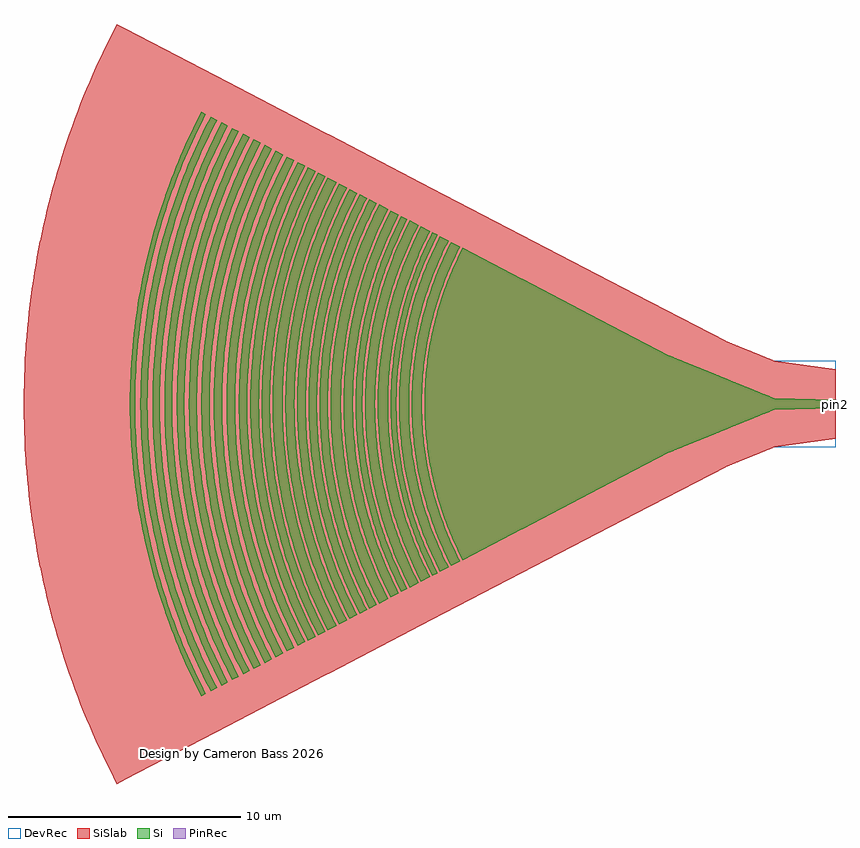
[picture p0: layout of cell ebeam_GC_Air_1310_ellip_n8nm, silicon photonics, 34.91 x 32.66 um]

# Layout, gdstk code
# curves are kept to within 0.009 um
import gdstk
lib = gdstk.Library(unit=1e-6, precision=1e-09)
def P(c, l, *ps):  # polygons
    for p in ps: c.add(gdstk.Polygon(p, *l))
Si = (1, 0)
PinRec = (1, 10)
SiSlab = (2, 0)
DevRec = (68, 0)

ebeam_gc_air_1310_ellip_ = lib.new_cell('ebeam_GC_Air_1310_ellip_n8nm')
P(ebeam_gc_air_1310_ellip_, Si, [(-16.045,-6.705),(-16.403,-5.966),(-16.777,-5.05),(-17.005,-4.382),(-17.27,-3.429),(-17.446,-2.6),(-17.573,-1.762),(-17.651,-0.917),(-17.679,-0.071),(-17.651,0.917),(-17.573,1.762),(-17.446,2.601),(-17.27,3.429),(-17.005,4.382),(-16.777,5.05),(-16.403,5.966),(-16.045,6.705),(-7.155,2.076),(-3.188,0.457),(-2.88,0.343),(-2.695,0.255),(-2.65,0.242),(0,0.175),(0,-0.175),(-2.65,-0.242),(-2.695,-0.254),(-2.849,-0.33),(-3.203,-0.463),(-7.126,-2.063)],
  [(-16.537,-6.96),(-16.906,-6.196),(-17.243,-5.382),(-17.531,-4.551),(-17.697,-3.988),(-17.806,-3.561),(-17.989,-2.7),(-18.12,-1.83),(-18.21,-0.807),(-18.231,0.074),(-18.201,0.954),(-18.102,1.975),(-17.962,2.844),(-17.771,3.704),(-17.531,4.551),(-17.243,5.382),(-16.906,6.196),(-16.536,6.961),(-16.148,6.759),(-16.508,6.013),(-16.886,5.091),(-17.158,4.281),(-17.383,3.457),(-17.56,2.621),(-17.688,1.776),(-17.775,0.783),(-17.795,0.071),(-17.775,-0.783),(-17.688,-1.776),(-17.56,-2.62),(-17.383,-3.457),(-17.158,-4.281),(-16.886,-5.091),(-16.508,-6.013),(-16.148,-6.759)],
  [(-17.018,-7.211),(-17.4,-6.42),(-17.749,-5.577),(-18.047,-4.716),(-18.296,-3.838),(-18.493,-2.947),(-18.638,-2.047),(-18.731,-1.139),(-18.758,-0.684),(-18.772,-0.076),(-18.75,0.836),(-18.675,1.745),(-18.618,2.198),(-18.521,2.798),(-18.332,3.69),(-18.178,4.279),(-18.047,4.716),(-17.749,5.577),(-17.4,6.42),(-17.018,7.211),(-16.639,7.015),(-17.071,6.108),(-17.454,5.147),(-17.686,4.444),(-17.92,3.589),(-18.103,2.721),(-18.236,1.844),(-18.317,0.961),(-18.347,0.074),(-18.326,-0.812),(-18.236,-1.844),(-18.103,-2.721),(-17.92,-3.589),(-17.686,-4.444),(-17.403,-5.286),(-17.071,-6.108),(-16.639,-7.015)],
  [(-17.338,-7.378),(-17.729,-6.568),(-18.086,-5.706),(-18.391,-4.825),(-18.646,-3.927),(-18.848,-3.015),(-18.929,-2.556),(-19.016,-1.94),(-19.102,-1.01),(-19.133,-0.078),(-19.111,0.856),(-19.016,1.94),(-18.876,2.863),(-18.683,3.776),(-18.437,4.676),(-18.141,5.56),(-17.973,5.996),(-17.729,6.569),(-17.338,7.378),(-17.121,7.265),(-17.567,6.327),(-17.963,5.332),(-18.112,4.896),(-18.29,4.31),(-18.409,3.867),(-18.547,3.27),(-18.711,2.365),(-18.807,1.606),(-18.866,0.842),(-18.888,0.077),(-18.866,-0.842),(-18.807,-1.606),(-18.711,-2.365),(-18.547,-3.27),(-18.409,-3.866),(-18.29,-4.31),(-18.112,-4.896),(-17.963,-5.331),(-17.567,-6.327),(-17.121,-7.265)],
  [(-17.834,-7.636),(-18.303,-6.651),(-18.664,-5.755),(-18.971,-4.84),(-19.225,-3.908),(-19.425,-2.963),(-19.569,-2.008),(-19.658,-1.045),(-19.691,-0.08),(-19.667,0.886),(-19.588,1.848),(-19.453,2.805),(-19.332,3.437),(-19.225,3.908),(-18.971,4.84),(-18.664,5.755),(-18.49,6.206),(-18.238,6.799),(-17.834,7.636),(-17.441,7.432),(-17.898,6.473),(-18.193,5.748),(-18.503,4.859),(-18.759,3.956),(-18.991,2.883),(-19.131,1.954),(-19.195,1.331),(-19.227,0.861),(-19.249,0.078),(-19.227,-0.861),(-19.195,-1.331),(-19.131,-1.954),(-18.991,-2.883),(-18.796,-3.803),(-18.549,-4.71),(-18.249,-5.601),(-17.898,-6.473),(-17.441,-7.432)],
  [(-18.314,-7.886),(-18.732,-7.02),(-18.992,-6.408),(-19.171,-5.943),(-19.489,-4.998),(-19.751,-4.035),(-19.957,-3.06),(-20.107,-2.073),(-20.198,-1.08),(-20.232,-0.083),(-20.208,0.915),(-20.126,1.908),(-19.986,2.896),(-19.79,3.874),(-19.627,4.519),(-19.489,4.998),(-19.283,5.63),(-19.113,6.099),(-18.732,7.021),(-18.314,7.886),(-17.938,7.691),(-18.41,6.698),(-18.83,5.644),(-19.131,4.718),(-19.34,3.936),(-19.541,2.983),(-19.686,2.022),(-19.776,1.053),(-19.809,0.081),(-19.785,-0.891),(-19.705,-1.861),(-19.569,-2.824),(-19.48,-3.303),(-19.34,-3.935),(-19.084,-4.873),(-18.774,-5.796),(-18.345,-6.846),(-17.938,-7.691)],
  [(-18.676,-8.074),(-19.104,-7.187),(-19.495,-6.243),(-19.829,-5.279),(-20.021,-4.626),(-20.148,-4.131),(-20.359,-3.133),(-20.512,-2.122),(-20.606,-1.105),(-20.64,-0.085),(-20.616,0.936),(-20.532,1.954),(-20.389,2.965),(-20.261,3.633),(-20.148,4.131),(-20.021,4.626),(-19.829,5.279),(-19.495,6.243),(-19.104,7.187),(-18.676,8.074),(-18.417,7.941),(-18.698,7.372),(-18.905,6.915),(-19.161,6.297),(-19.338,5.827),(-19.501,5.351),(-19.695,4.711),(-19.825,4.226),(-19.976,3.574),(-20.155,2.585),(-20.26,1.755),(-20.325,0.92),(-20.349,0.084),(-20.325,-0.92),(-20.26,-1.755),(-20.155,-2.585),(-20.01,-3.41),(-19.904,-3.9),(-19.74,-4.549),(-19.552,-5.191),(-19.394,-5.669),(-18.972,-6.761),(-18.698,-7.372),(-18.417,-7.94)],
  [(-19.134,-8.313),(-19.575,-7.4),(-19.85,-6.754),(-20.039,-6.264),(-20.373,-5.268),(-20.65,-4.253),(-20.867,-3.225),(-21.025,-2.185),(-21.121,-1.138),(-21.157,-0.088),(-21.147,0.614),(-21.121,1.138),(-21.025,2.185),(-20.867,3.225),(-20.65,4.253),(-20.373,5.268),(-20.039,6.264),(-19.646,7.24),(-19.429,7.718),(-19.134,8.313),(-18.78,8.129),(-19.211,7.235),(-19.479,6.604),(-19.663,6.125),(-19.992,5.15),(-20.263,4.159),(-20.475,3.153),(-20.629,2.137),(-20.723,1.114),(-20.758,0.086),(-20.733,-0.942),(-20.649,-1.967),(-20.505,-2.984),(-20.411,-3.49),(-20.263,-4.159),(-19.992,-5.15),(-19.664,-6.125),(-19.28,-7.078),(-19.068,-7.546),(-18.78,-8.129)],
  [(-19.633,-8.573),(-20.086,-7.633),(-20.501,-6.631),(-20.855,-5.607),(-21.151,-4.563),(-21.385,-3.504),(-21.558,-2.434),(-21.668,-1.354),(-21.699,-0.814),(-21.717,-0.09),(-21.691,0.994),(-21.601,2.075),(-21.45,3.149),(-21.314,3.858),(-21.194,4.388),(-20.909,5.434),(-20.685,6.121),(-20.501,6.631),(-20.086,7.633),(-19.633,8.573),(-19.238,8.368),(-19.534,7.768),(-19.753,7.286),(-20.086,6.47),(-20.267,5.973),(-20.486,5.302),(-20.722,4.452),(-20.95,3.42),(-21.119,2.375),(-21.197,1.674),(-21.238,1.145),(-21.274,0.088),(-21.269,-0.441),(-21.238,-1.145),(-21.141,-2.199),(-20.983,-3.245),(-20.764,-4.281),(-20.486,-5.301),(-20.148,-6.305),(-19.753,-7.286),(-19.238,-8.368)],
  [(-20.048,-8.789),(-20.514,-7.823),(-20.939,-6.796),(-21.303,-5.746),(-21.606,-4.676),(-21.846,-3.591),(-22.023,-2.494),(-22.136,-1.388),(-22.168,-0.834),(-22.186,-0.093),(-22.159,1.019),(-22.068,2.126),(-21.998,2.678),(-21.88,3.41),(-21.65,4.497),(-21.357,5.569),(-21.004,6.622),(-20.589,7.654),(-20.359,8.16),(-20.048,8.789),(-19.74,8.629),(-19.966,8.176),(-20.27,7.515),(-20.481,7.012),(-20.74,6.332),(-20.972,5.642),(-21.177,4.944),(-21.354,4.239),(-21.47,3.705),(-21.627,2.809),(-21.741,1.907),(-21.812,1),(-21.838,0.091),(-21.828,-0.636),(-21.759,-1.726),(-21.654,-2.629),(-21.47,-3.705),(-21.354,-4.238),(-21.177,-4.944),(-20.972,-5.641),(-20.74,-6.332),(-20.481,-7.011),(-20.27,-7.514),(-20.044,-8.011),(-19.74,-8.629)],
  [(-20.468,-9.008),(-20.947,-8.016),(-21.383,-6.963),(-21.755,-5.888),(-22.066,-4.792),(-22.197,-4.237),(-22.347,-3.494),(-22.517,-2.367),(-22.622,-1.233),(-22.661,-0.095),(-22.633,1.044),(-22.539,2.179),(-22.38,3.307),(-22.276,3.866),(-22.111,4.608),(-21.811,5.707),(-21.638,6.248),(-21.383,6.963),(-20.947,8.016),(-20.468,9.008),(-20.152,8.844),(-20.465,8.209),(-20.77,7.529),(-21.048,6.838),(-21.24,6.312),(-21.415,5.781),(-21.625,5.066),(-21.808,4.343),(-21.926,3.797),(-22.087,2.878),(-22.204,1.954),(-22.276,1.024),(-22.303,0.093),(-22.285,-0.838),(-22.222,-1.769),(-22.114,-2.694),(-21.926,-3.797),(-21.808,-4.343),(-21.625,-5.066),(-21.47,-5.603),(-21.24,-6.312),(-20.981,-7.011),(-20.77,-7.529),(-20.465,-8.209),(-20.152,-8.844)],
  [(-20.903,-9.234),(-21.395,-8.214),(-21.841,-7.136),(-22.223,-6.034),(-22.542,-4.911),(-22.676,-4.342),(-22.83,-3.58),(-23.005,-2.426),(-23.112,-1.263),(-23.151,-0.097),(-23.146,0.487),(-23.112,1.264),(-23.005,2.426),(-22.83,3.581),(-22.588,4.722),(-22.281,5.848),(-21.91,6.954),(-21.474,8.037),(-21.232,8.568),(-20.903,9.234),(-20.576,9.064),(-20.899,8.41),(-21.211,7.713),(-21.496,7.005),(-21.693,6.467),(-21.873,5.922),(-22.088,5.19),(-22.231,4.635),(-22.396,3.89),(-22.561,2.949),(-22.681,2.002),(-22.755,1.05),(-22.783,0.096),(-22.764,-0.859),(-22.7,-1.812),(-22.589,-2.76),(-22.396,-3.89),(-22.231,-4.635),(-22.088,-5.19),(-21.873,-5.922),(-21.693,-6.467),(-21.496,-7.005),(-21.211,-7.713),(-20.899,-8.41),(-20.576,-9.064)],
  [(-21.354,-9.469),(-21.692,-8.787),(-21.939,-8.241),(-22.171,-7.689),(-22.386,-7.131),(-22.767,-5.997),(-23.082,-4.842),(-23.33,-3.672),(-23.509,-2.488),(-23.619,-1.295),(-23.648,-0.698),(-23.659,-0.1),(-23.654,0.499),(-23.619,1.296),(-23.509,2.488),(-23.33,3.672),(-23.082,4.842),(-22.933,5.422),(-22.708,6.188),(-22.316,7.318),(-21.858,8.424),(-21.354,9.469),(-21.006,9.288),(-21.253,8.794),(-21.58,8.083),(-21.807,7.542),(-22.086,6.811),(-22.336,6.068),(-22.504,5.506),(-22.702,4.749),(-22.872,3.986),(-23.041,3.022),(-23.164,2.051),(-23.24,1.075),(-23.268,0.098),(-23.249,-0.88),(-23.183,-1.857),(-23.07,-2.828),(-22.872,-3.985),(-22.702,-4.749),(-22.504,-5.506),(-22.336,-6.068),(-22.086,-6.811),(-21.807,-7.542),(-21.58,-8.083),(-21.337,-8.617),(-21.006,-9.288)],
  [(-21.842,-9.722),(-22.187,-9.024),(-22.441,-8.464),(-22.679,-7.897),(-22.9,-7.323),(-23.104,-6.744),(-23.291,-6.159),(-23.462,-5.568),(-23.615,-4.973),(-23.751,-4.373),(-23.869,-3.771),(-23.97,-3.164),(-24.053,-2.555),(-24.166,-1.33),(-24.196,-0.717),(-24.207,-0.102),(-24.178,1.127),(-24.077,2.352),(-23.97,3.164),(-23.869,3.771),(-23.751,4.373),(-23.615,4.973),(-23.462,5.569),(-23.291,6.159),(-22.9,7.324),(-22.679,7.897),(-22.441,8.464),(-22.187,9.024),(-21.842,9.723),(-21.457,9.523),(-21.797,8.836),(-22.045,8.288),(-22.496,7.172),(-22.696,6.605),(-22.879,6.031),(-23.196,4.87),(-23.445,3.692),(-23.625,2.502),(-23.689,1.904),(-23.735,1.304),(-23.776,0.1),(-23.747,-1.103),(-23.689,-1.904),(-23.625,-2.502),(-23.445,-3.692),(-23.196,-4.87),(-22.879,-6.031),(-22.496,-7.172),(-22.045,-8.288),(-21.797,-8.836),(-21.457,-9.523)],
  [(-22.256,-9.938),(-22.784,-8.842),(-23.033,-8.265),(-23.265,-7.681),(-23.546,-6.892),(-23.738,-6.295),(-24.069,-5.083),(-24.328,-3.854),(-24.431,-3.234),(-24.516,-2.611),(-24.583,-1.986),(-24.632,-1.36),(-24.662,-0.733),(-24.674,-0.105),(-24.668,0.524),(-24.644,1.152),(-24.541,2.403),(-24.462,3.027),(-24.365,3.648),(-24.25,4.265),(-24.069,5.083),(-23.738,6.295),(-23.546,6.893),(-23.265,7.681),(-23.033,8.266),(-22.784,8.843),(-22.256,9.938),(-21.945,9.777),(-22.292,9.073),(-22.547,8.511),(-22.862,7.75),(-23.08,7.171),(-23.28,6.586),(-23.519,5.798),(-23.679,5.201),(-23.865,4.398),(-23.984,3.791),(-24.085,3.181),(-24.214,2.16),(-24.294,1.132),(-24.324,0.103),(-24.318,-0.515),(-24.294,-1.132),(-24.214,-2.16),(-24.085,-3.181),(-23.984,-3.791),(-23.865,-4.398),(-23.679,-5.201),(-23.519,-5.797),(-23.28,-6.585),(-23.08,-7.171),(-22.786,-7.941),(-22.547,-8.51),(-22.292,-9.073),(-21.945,-9.777)],
  [(-22.69,-10.164),(-23.232,-9.041),(-23.487,-8.451),(-23.724,-7.854),(-24.144,-6.641),(-24.386,-5.819),(-24.546,-5.197),(-24.688,-4.57),(-24.811,-3.941),(-24.917,-3.307),(-25.004,-2.67),(-25.072,-2.031),(-25.122,-1.39),(-25.153,-0.75),(-25.165,-0.107),(-25.159,0.536),(-25.134,1.178),(-25.091,1.818),(-25.029,2.457),(-24.948,3.095),(-24.849,3.73),(-24.688,4.57),(-24.546,5.197),(-24.386,5.819),(-24.207,6.437),(-23.799,7.654),(-23.568,8.253),(-23.319,8.846),(-23.053,9.431),(-22.69,10.164),(-22.362,9.994),(-22.718,9.273),(-22.979,8.698),(-23.301,7.92),(-23.523,7.329),(-23.792,6.53),(-23.972,5.925),(-24.136,5.315),(-24.326,4.495),(-24.518,3.46),(-24.661,2.417),(-24.752,1.368),(-24.783,0.737),(-24.795,0.105),(-24.775,-0.947),(-24.738,-1.578),(-24.683,-2.207),(-24.551,-3.251),(-24.326,-4.495),(-24.136,-5.315),(-23.972,-5.925),(-23.792,-6.53),(-23.523,-7.329),(-23.301,-7.92),(-22.979,-8.698),(-22.718,-9.273),(-22.362,-9.994)],
  [(-23.122,-10.389),(-23.497,-9.634),(-23.679,-9.236),(-23.939,-8.633),(-24.182,-8.023),(-24.612,-6.784),(-24.8,-6.155),(-24.97,-5.521),(-25.121,-4.883),(-25.254,-4.24),(-25.368,-3.594),(-25.463,-2.945),(-25.539,-2.293),(-25.611,-1.42),(-25.643,-0.766),(-25.655,-0.109),(-25.649,0.547),(-25.624,1.203),(-25.579,1.857),(-25.516,2.51),(-25.433,3.162),(-25.294,4.026),(-25.167,4.669),(-25.022,5.309),(-24.858,5.945),(-24.676,6.575),(-24.476,7.2),(-24.259,7.819),(-24.022,8.431),(-23.768,9.036),(-23.497,9.634),(-23.122,10.389),(-22.81,10.228),(-23.176,9.485),(-23.529,8.7),(-23.773,8.102),(-24,7.497),(-24.275,6.68),(-24.46,6.061),(-24.679,5.228),(-24.822,4.598),(-25.019,3.539),(-25.112,2.9),(-25.187,2.258),(-25.27,1.184),(-25.302,0.108),(-25.281,-0.969),(-25.243,-1.614),(-25.187,-2.258),(-25.019,-3.539),(-24.822,-4.598),(-24.679,-5.228),(-24.46,-6.061),(-24.275,-6.68),(-24,-7.497),(-23.773,-8.102),(-23.443,-8.897),(-23.176,-9.485),(-22.81,-10.227)],
  [(-23.591,-10.634),(-24.165,-9.448),(-24.431,-8.831),(-24.679,-8.207),(-24.908,-7.576),(-25.119,-6.94),(-25.312,-6.296),(-25.486,-5.648),(-25.641,-4.994),(-25.817,-4.118),(-25.928,-3.455),(-26.019,-2.79),(-26.09,-2.122),(-26.142,-1.453),(-26.175,-0.783),(-26.188,-0.112),(-26.181,0.56),(-26.155,1.231),(-26.11,1.9),(-26.045,2.568),(-25.96,3.234),(-25.856,3.898),(-25.688,4.776),(-25.539,5.431),(-25.372,6.081),(-25.185,6.726),(-24.98,7.365),(-24.758,7.998),(-24.516,8.624),(-24.256,9.243),(-23.978,9.855),(-23.591,10.634),(-23.268,10.466),(-23.646,9.701),(-23.919,9.1),(-24.175,8.491),(-24.489,7.668),(-24.703,7.042),(-24.96,6.199),(-25.184,5.347),(-25.33,4.703),(-25.532,3.619),(-25.681,2.528),(-25.744,1.871),(-25.789,1.211),(-25.821,0.11),(-25.8,-0.991),(-25.762,-1.651),(-25.704,-2.309),(-25.566,-3.402),(-25.33,-4.703),(-25.184,-5.347),(-24.96,-6.199),(-24.703,-7.041),(-24.489,-7.667),(-24.175,-8.491),(-23.919,-9.1),(-23.646,-9.701),(-23.268,-10.466)],
  [(-24.074,-10.885),(-24.374,-10.287),(-24.664,-9.665),(-24.937,-9.034),(-25.191,-8.396),(-25.425,-7.751),(-25.709,-6.881),(-25.9,-6.221),(-26.071,-5.556),(-26.223,-4.886),(-26.356,-4.213),(-26.469,-3.535),(-26.562,-2.854),(-26.635,-2.171),(-26.688,-1.486),(-26.722,-0.801),(-26.735,-0.114),(-26.728,0.573),(-26.702,1.259),(-26.655,1.943),(-26.562,2.855),(-26.469,3.535),(-26.356,4.213),(-26.223,4.886),(-26.071,5.556),(-25.9,6.221),(-25.709,6.881),(-25.425,7.751),(-25.191,8.396),(-24.937,9.035),(-24.664,9.665),(-24.374,10.288),(-24.074,10.885),(-23.756,10.72),(-24.049,10.135),(-24.426,9.315),(-24.772,8.482),(-25.01,7.849),(-25.229,7.209),(-25.492,6.345),(-25.722,5.473),(-25.871,4.814),(-26.078,3.705),(-26.231,2.588),(-26.329,1.465),(-26.362,0.789),(-26.375,0.113),(-26.353,-1.014),(-26.313,-1.69),(-26.255,-2.364),(-26.113,-3.482),(-26.002,-4.149),(-25.871,-4.814),(-25.722,-5.473),(-25.492,-6.345),(-25.298,-6.993),(-25.01,-7.849),(-24.772,-8.482),(-24.426,-9.315),(-24.049,-10.134),(-23.756,-10.72)],
  [(-24.544,-11.13),(-24.853,-10.515),(-25.15,-9.879),(-25.429,-9.234),(-25.688,-8.582),(-25.928,-7.922),(-26.149,-7.257),(-26.413,-6.359),(-26.589,-5.679),(-26.744,-4.994),(-26.88,-4.306),(-26.995,-3.613),(-27.09,-2.918),(-27.165,-2.219),(-27.22,-1.519),(-27.254,-0.819),(-27.267,-0.117),(-27.254,0.819),(-27.22,1.52),(-27.165,2.22),(-27.09,2.918),(-26.995,3.613),(-26.88,4.306),(-26.744,4.994),(-26.589,5.679),(-26.413,6.359),(-26.149,7.257),(-25.928,7.922),(-25.688,8.582),(-25.429,9.235),(-25.15,9.879),(-24.853,10.516),(-24.544,11.13),(-24.237,10.971),(-24.64,10.158),(-24.927,9.528),(-25.195,8.89),(-25.524,8.028),(-25.819,7.153),(-26.017,6.491),(-26.197,5.822),(-26.405,4.924),(-26.617,3.79),(-26.773,2.647),(-26.874,1.499),(-26.907,0.807),(-26.92,0.115),(-26.914,-0.576),(-26.887,-1.268),(-26.797,-2.418),(-26.717,-3.105),(-26.617,-3.79),(-26.405,-4.924),(-26.197,-5.822),(-26.017,-6.49),(-25.819,-7.153),(-25.524,-8.028),(-25.195,-8.89),(-24.927,-9.528),(-24.64,-10.158),(-24.237,-10.971)],
  [(-25.017,-11.376),(-25.334,-10.745),(-25.638,-10.096),(-25.922,-9.437),(-26.188,-8.77),(-26.432,-8.096),(-26.658,-7.416),(-26.865,-6.728),(-27.051,-6.035),(-27.216,-5.337),(-27.362,-4.634),(-27.486,-3.929),(-27.591,-3.219),(-27.674,-2.506),(-27.737,-1.791),(-27.788,-0.837),(-27.802,-0.12),(-27.795,0.598),(-27.767,1.315),(-27.718,2.03),(-27.649,2.744),(-27.558,3.456),(-27.406,4.4),(-27.267,5.104),(-27.108,5.803),(-26.929,6.498),(-26.729,7.188),(-26.51,7.87),(-26.188,8.77),(-25.922,9.437),(-25.638,10.096),(-25.334,10.745),(-25.017,11.376),(-24.717,11.221),(-25.029,10.6),(-25.424,9.742),(-25.698,9.09),(-26.035,8.209),(-26.264,7.54),(-26.539,6.637),(-26.723,5.953),(-26.936,5.035),(-27.152,3.875),(-27.312,2.707),(-27.381,2.003),(-27.429,1.296),(-27.463,0.118),(-27.456,-0.589),(-27.429,-1.296),(-27.337,-2.472),(-27.189,-3.642),(-27.073,-4.34),(-26.936,-5.035),(-26.723,-5.953),(-26.539,-6.636),(-26.264,-7.539),(-26.035,-8.209),(-25.698,-9.09),(-25.424,-9.742),(-25.131,-10.386),(-24.717,-11.22)],
  [(-25.479,-11.616),(-25.803,-10.971),(-26.113,-10.308),(-26.403,-9.635),(-26.674,-8.954),(-26.924,-8.266),(-27.155,-7.572),(-27.366,-6.87),(-27.556,-6.162),(-27.777,-5.211),(-27.918,-4.493),(-28.039,-3.77),(-28.138,-3.044),(-28.216,-2.316),(-28.273,-1.585),(-28.308,-0.855),(-28.323,-0.122),(-28.308,0.855),(-28.273,1.585),(-28.216,2.316),(-28.138,3.044),(-28.039,3.77),(-27.918,4.493),(-27.777,5.211),(-27.614,5.925),(-27.431,6.635),(-27.228,7.338),(-27.004,8.035),(-26.674,8.955),(-26.403,9.635),(-26.113,10.308),(-25.803,10.971),(-25.479,11.616),(-25.191,11.467),(-25.615,10.613),(-25.914,9.955),(-26.284,9.065),(-26.539,8.388),(-26.847,7.474),(-27.054,6.782),(-27.242,6.083),(-27.409,5.38),(-27.555,4.672),(-27.681,3.96),(-27.844,2.766),(-27.949,1.566),(-27.984,0.843),(-27.998,0.121),(-27.975,-1.084),(-27.933,-1.806),(-27.87,-2.526),(-27.786,-3.244),(-27.681,-3.959),(-27.46,-5.144),(-27.242,-6.083),(-27.054,-6.781),(-26.847,-7.474),(-26.539,-8.388),(-26.284,-9.065),(-25.914,-9.955),(-25.615,-10.613),(-25.191,-11.467)],
  [(-25.944,-11.858),(-26.275,-11.199),(-26.592,-10.522),(-26.888,-9.836),(-27.165,-9.141),(-27.42,-8.438),(-27.656,-7.729),(-27.871,-7.013),(-28.065,-6.29),(-28.29,-5.319),(-28.435,-4.586),(-28.557,-3.848),(-28.659,-3.107),(-28.739,-2.364),(-28.797,-1.618),(-28.833,-0.872),(-28.847,-0.125),(-28.833,0.872),(-28.797,1.618),(-28.739,2.364),(-28.659,3.108),(-28.557,3.849),(-28.435,4.586),(-28.29,5.319),(-28.124,6.048),(-27.938,6.773),(-27.73,7.491),(-27.501,8.202),(-27.253,8.907),(-26.983,9.605),(-26.592,10.522),(-26.275,11.2),(-25.944,11.859),(-25.661,11.712),(-25.988,11.061),(-26.4,10.167),(-26.686,9.486),(-27.038,8.566),(-27.277,7.868),(-27.565,6.926),(-27.756,6.213),(-27.979,5.254),(-28.204,4.044),(-28.371,2.825),(-28.443,2.09),(-28.493,1.353),(-28.529,0.123),(-28.521,-0.615),(-28.493,-1.353),(-28.397,-2.58),(-28.242,-3.8),(-28.121,-4.528),(-27.979,-5.254),(-27.815,-5.974),(-27.565,-6.925),(-27.277,-7.867),(-27.038,-8.566),(-26.686,-9.486),(-26.4,-10.166),(-25.988,-11.06),(-25.661,-11.712)],
  [(-26.403,-12.097),(-26.741,-11.424),(-27.064,-10.734),(-27.366,-10.033),(-27.648,-9.324),(-27.909,-8.607),(-28.149,-7.884),(-28.368,-7.153),(-28.566,-6.417),(-28.742,-5.674),(-28.897,-4.927),(-29.03,-4.177),(-29.14,-3.422),(-29.229,-2.664),(-29.296,-1.904),(-29.35,-0.89),(-29.365,-0.127),(-29.357,0.636),(-29.328,1.398),(-29.276,2.158),(-29.202,2.918),(-29.106,3.674),(-28.944,4.678),(-28.796,5.426),(-28.627,6.17),(-28.437,6.909),(-28.225,7.642),(-27.991,8.367),(-27.738,9.086),(-27.463,9.798),(-27.064,10.734),(-26.741,11.425),(-26.403,12.097),(-26.13,11.956),(-26.464,11.292),(-26.885,10.378),(-27.27,9.45),(-27.536,8.745),(-27.78,8.031),(-28.074,7.07),(-28.269,6.342),(-28.443,5.609),(-28.596,4.871),(-28.727,4.128),(-28.897,2.884),(-29.007,1.632),(-29.043,0.879),(-29.058,0.126),(-29.05,-0.628),(-29.021,-1.381),(-28.924,-2.634),(-28.836,-3.382),(-28.727,-4.128),(-28.596,-4.871),(-28.443,-5.609),(-28.269,-6.342),(-28.004,-7.311),(-27.701,-8.27),(-27.45,-8.98),(-27.082,-9.916),(-26.783,-10.608),(-26.464,-11.29),(-26.13,-11.956)],
  [(-26.873,-12.342),(-27.323,-11.436),(-27.645,-10.727),(-27.947,-10.008),(-28.228,-9.281),(-28.486,-8.547),(-28.724,-7.806),(-28.94,-7.057),(-29.135,-6.302),(-29.307,-5.542),(-29.457,-4.779),(-29.585,-4.01),(-29.691,-3.238),(-29.773,-2.463),(-29.834,-1.686),(-29.872,-0.909),(-29.887,-0.13),(-29.872,0.909),(-29.834,1.686),(-29.773,2.463),(-29.691,3.238),(-29.585,4.01),(-29.457,4.779),(-29.307,5.543),(-29.135,6.302),(-28.94,7.057),(-28.724,7.806),(-28.486,8.547),(-28.228,9.282),(-27.947,10.008),(-27.645,10.727),(-27.323,11.436),(-26.873,12.343),(-26.597,12.2),(-26.938,11.521),(-27.368,10.589),(-27.761,9.642),(-28.032,8.922),(-28.281,8.195),(-28.509,7.459),(-28.716,6.719),(-28.957,5.723),(-29.205,4.464),(-29.324,3.705),(-29.421,2.942),(-29.495,2.177),(-29.547,1.409),(-29.585,0.128),(-29.56,-1.153),(-29.515,-1.921),(-29.448,-2.687),(-29.287,-3.958),(-29.16,-4.717),(-29.012,-5.472),(-28.78,-6.47),(-28.58,-7.213),(-28.36,-7.95),(-28.032,-8.922),(-27.761,-9.642),(-27.368,-10.589),(-27.049,-11.289),(-26.597,-12.199)],
  [(-27.271,-12.55),(-27.622,-11.849),(-27.957,-11.133),(-28.27,-10.407),(-28.562,-9.671),(-28.818,-8.969),(-29.081,-8.178),(-29.308,-7.42),(-29.513,-6.656),(-29.695,-5.886),(-29.855,-5.111),(-29.993,-4.332),(-30.108,-3.55),(-30.225,-2.501),(-30.281,-1.793),(-30.325,-0.923),(-30.34,-0.132),(-30.332,0.659),(-30.302,1.45),(-30.248,2.239),(-30.141,3.288),(-30.034,4.072),(-29.904,4.853),(-29.751,5.628),(-29.576,6.4),(-29.379,7.166),(-29.159,7.926),(-28.918,8.679),(-28.655,9.425),(-28.37,10.163),(-27.957,11.134),(-27.622,11.85),(-27.271,12.55),(-27.076,12.449),(-27.416,11.77),(-27.854,10.818),(-28.255,9.851),(-28.532,9.115),(-28.786,8.372),(-29.019,7.621),(-29.23,6.864),(-29.418,6.102),(-29.683,4.819),(-29.812,4.044),(-29.918,3.266),(-30.002,2.485),(-30.063,1.702),(-30.101,0.916),(-30.116,0.131),(-30.091,-1.178),(-30.045,-1.963),(-29.976,-2.745),(-29.885,-3.525),(-29.771,-4.303),(-29.635,-5.077),(-29.476,-5.846),(-29.295,-6.611),(-29.092,-7.369),(-28.866,-8.122),(-28.532,-9.115),(-28.255,-9.851),(-27.854,-10.818),(-27.529,-11.533),(-27.076,-12.449)])
P(ebeam_gc_air_1310_ellip_, SiSlab, [(-30.904,-16.329),(-31.366,-15.41),(-31.801,-14.477),(-32.208,-13.533),(-32.588,-12.577),(-32.94,-11.61),(-33.264,-10.634),(-33.559,-9.648),(-33.825,-8.655),(-34.062,-7.654),(-34.27,-6.647),(-34.449,-5.634),(-34.598,-4.616),(-34.717,-3.594),(-34.807,-2.569),(-34.867,-1.543),(-34.9,-0.171),(-34.89,0.857),(-34.85,1.885),(-34.781,2.912),(-34.681,3.935),(-34.552,4.956),(-34.393,5.972),(-34.135,7.319),(-33.907,8.322),(-33.651,9.318),(-33.365,10.307),(-33.051,11.286),(-32.709,12.256),(-32.338,13.216),(-31.94,14.164),(-31.366,15.41),(-30.904,16.329),(-4.744,2.708),(-2.65,1.855),(0,1.5),(0,-1.5),(-2.65,-1.855),(-4.728,-2.7)])
P(ebeam_gc_air_1310_ellip_, DevRec, [(-30.904,-16.329),(-31.366,-15.41),(-31.801,-14.477),(-32.208,-13.533),(-32.588,-12.577),(-32.94,-11.61),(-33.264,-10.634),(-33.559,-9.648),(-33.825,-8.655),(-34.062,-7.654),(-34.27,-6.647),(-34.449,-5.634),(-34.598,-4.616),(-34.717,-3.594),(-34.807,-2.569),(-34.867,-1.543),(-34.9,-0.171),(-34.89,0.857),(-34.85,1.885),(-34.781,2.912),(-34.681,3.935),(-34.552,4.956),(-34.393,5.972),(-34.135,7.319),(-33.907,8.322),(-33.651,9.318),(-33.365,10.307),(-33.051,11.286),(-32.709,12.256),(-32.338,13.216),(-31.94,14.164),(-31.366,15.41),(-30.904,16.329),(-4.744,2.708),(-2.65,1.855),(0,1.855),(0,-1.855),(-2.65,-1.855),(-4.728,-2.7)])
ebeam_gc_air_1310_ellip_.add(gdstk.FlexPath([(-0.01,0),(0.01,0)], 0.35, ends="flush", simple_path=True, layer=1, datatype=10))  # PinRec
ebeam_gc_air_1310_ellip_.add(gdstk.Label('pin2', (0,0), layer=1, texttype=10))
ebeam_gc_air_1310_ellip_.add(gdstk.Label('Design by Cameron Bass 2026', (-25.94,-15.02), layer=10, texttype=0))

lib.write_gds('ebeam_GC_Air_1310_ellip_n8nm.gds')
